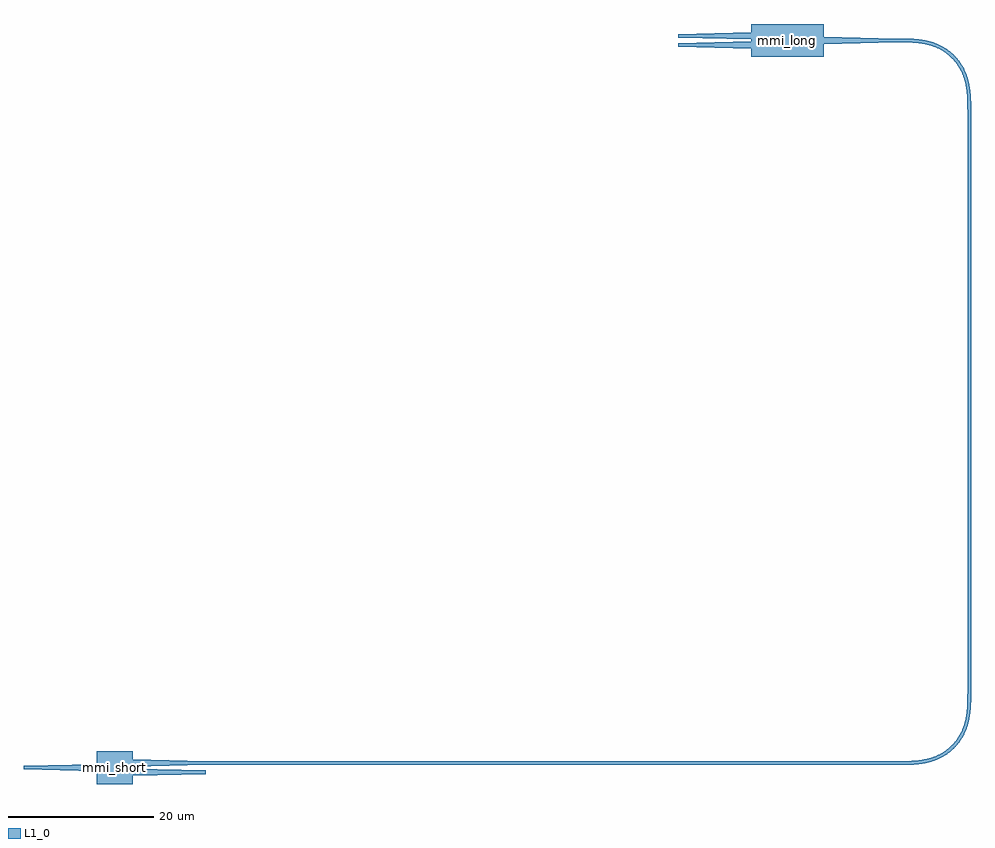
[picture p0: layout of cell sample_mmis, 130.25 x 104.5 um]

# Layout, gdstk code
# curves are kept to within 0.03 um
from math import pi, radians
import gdstk
lib = gdstk.Library(unit=1e-6, precision=1e-09)
def R(c, l, rs):  # rectangles x0, y0, x1, y1
    for r in rs: c.add(gdstk.rectangle(r[:2], r[2:], *l))
def P(c, l, *ps):  # polygons
    for p in ps: c.add(gdstk.Polygon(p, *l))
L1_0 = (1, 0)

bend_euler_rnone_a90_p0_ = lib.new_cell('bend_euler_RNone_A90_P0_fb2476c0')
P(bend_euler_rnone_a90_p0_, L1_0, [(0,-0.25),(0,0.25),(1.655,0.269),(2.881,0.353),(3.952,0.52),(4.99,0.806),(5.731,1.113),(6.431,1.505),(7.079,1.976),(7.575,2.425),(8.024,2.921),(8.495,3.569),(8.887,4.269),(9.194,5.01),(9.48,6.048),(9.647,7.119),(9.731,8.345),(9.75,10),(10.25,10),(10.235,8.468),(10.158,7.205),(10.023,6.224),(9.797,5.254),(9.457,4.312),(9.066,3.545),(8.5,2.715),(7.928,2.072),(7.285,1.5),(6.455,0.934),(5.688,0.543),(4.746,0.203),(3.776,-0.023),(2.795,-0.158),(1.532,-0.235)])

straight_l95_n2_csxs_34_ = lib.new_cell('straight_L95_N2_CSxs_34_c6d04710')
R(straight_l95_n2_csxs_34_, L1_0, [(0,-0.25,95,0.25)])

straight_l79p375_n2_csx_ = lib.new_cell('straight_L79p375_N2_CSx_9270c2a2')
R(straight_l79p375_n2_csx_, L1_0, [(0,-0.25,79.375,0.25)])

mmi1x2_wnone_wt1_lt10_l_ = lib.new_cell('mmi1x2_WNone_WT1_LT10_L_33dfc171')
P(mmi1x2_wnone_wt1_lt10_l_, L1_0, [(0,-2.25),(0,-0.5),(-10,-0.25),(-10,0.25),(0,0.5),(0,2.25),(10,2.25),(10,1.125),(20,0.875),(20,0.375),(10,0.125),(10,-0.125),(20,-0.375),(20,-0.875),(10,-1.125),(10,-2.25)])

c_mmi1x2_wnone_wt1_lt10_l_ = lib.new_cell('mmi1x2_WNone_WT1_LT10_L_f597cb99')
P(c_mmi1x2_wnone_wt1_lt10_l_, L1_0, [(0,-2.25),(0,-0.5),(-10,-0.25),(-10,0.25),(0,0.5),(0,2.25),(5,2.25),(5,1.125),(15,0.875),(15,0.375),(5,0.125),(5,-0.125),(15,-0.375),(15,-0.875),(5,-1.125),(5,-2.25)])

sample_mmis = lib.new_cell('sample_mmis')
sample_mmis.add(gdstk.Reference(bend_euler_rnone_a90_p0_, (120,10.625), rotation=3*pi/2, x_reflection=True))
sample_mmis.add(gdstk.Reference(straight_l95_n2_csxs_34_, (110,0.625), rotation=pi, x_reflection=True))
sample_mmis.add(gdstk.Reference(bend_euler_rnone_a90_p0_, (110,100), x_reflection=True))
sample_mmis.add(gdstk.Reference(straight_l79p375_n2_csx_, (120,90), rotation=3*pi/2, x_reflection=True))
sample_mmis.add(gdstk.Reference(mmi1x2_wnone_wt1_lt10_l_, (100,100), rotation=pi))
sample_mmis.add(gdstk.Reference(c_mmi1x2_wnone_wt1_lt10_l_, (0,0)))
sample_mmis.add(gdstk.Label('mmi_long', (95,100), layer=206, texttype=0))
sample_mmis.add(gdstk.Label('mmi_short', (2.5,0), layer=206, texttype=0))

lib.write_gds('sample_mmis.gds')
